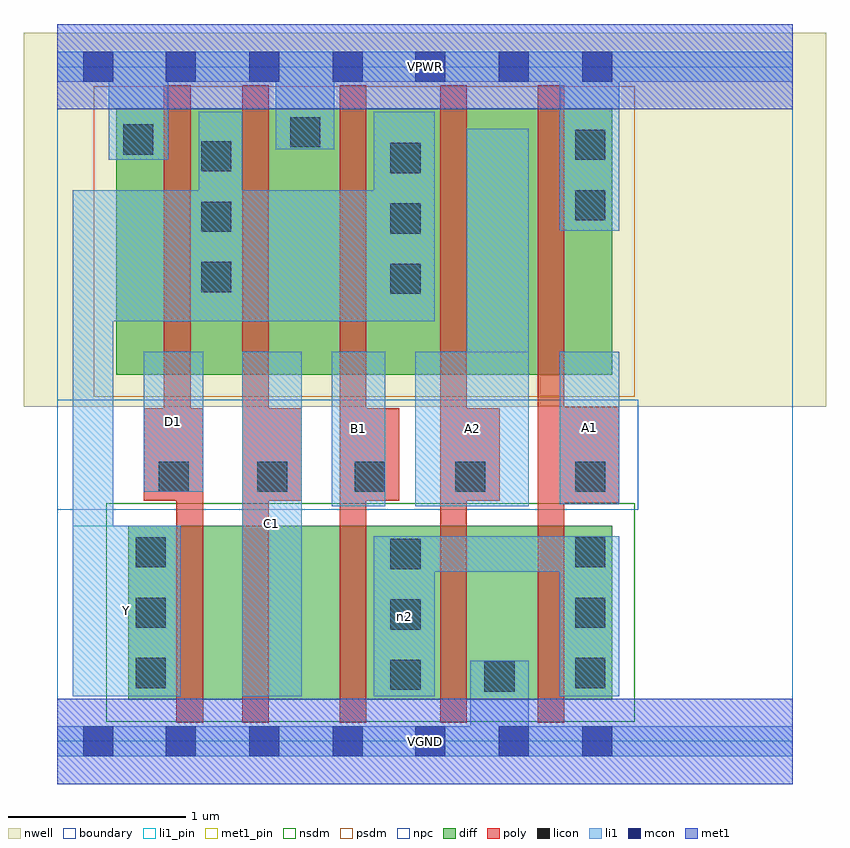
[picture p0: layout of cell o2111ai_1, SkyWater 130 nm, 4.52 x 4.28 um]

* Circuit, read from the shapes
.subckt o2111ai_1 A1 A2 B1 C1 D1 VGND VPWR Y n2
XM1 n1 D1 Y VSUBS sky130_fd_pr__nfet_01v8 w=0.98 l=0.15
XM2 n3 C1 n1 VSUBS sky130_fd_pr__nfet_01v8 w=0.98 l=0.15
XM3 n2 B1 n3 VSUBS sky130_fd_pr__nfet_01v8 w=0.98 l=0.15
XM4 VGND A2 n2 VSUBS sky130_fd_pr__nfet_01v8 w=0.98 l=0.15
XM5 n2 A1 VGND VSUBS sky130_fd_pr__nfet_01v8 w=0.98 l=0.15
XM6 Y D1 VPWR n4 sky130_fd_pr__pfet_01v8 w=1.5 l=0.15
XM7 VPWR C1 Y n4 sky130_fd_pr__pfet_01v8 w=1.5 l=0.15
XM8 Y B1 VPWR n4 sky130_fd_pr__pfet_01v8 w=1.5 l=0.15
XM9 n5 A2 Y n4 sky130_fd_pr__pfet_01v8 w=1.5 l=0.15
XM10 VPWR A1 n5 n4 sky130_fd_pr__pfet_01v8 w=1.5 l=0.15
.ends

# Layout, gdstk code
import gdstk
lib = gdstk.Library(unit=1e-6, precision=1e-09)
def R(c, l, rs):  # rectangles x0, y0, x1, y1
    for r in rs: c.add(gdstk.rectangle(r[:2], r[2:], *l))
def A(c, l, x, y, w, h, nx, ny, dx, dy):  # array of equal rectangles
    R(c, l, [(x+i*dx, y+j*dy, x+i*dx+w, y+j*dy+h) for i in range(nx) for j in range(ny)])
nwell = (64, 20)
diff = (65, 20)
poly = (66, 20)
licon = (66, 44)
li1_pin = (67, 16)
li1 = (67, 20)
mcon = (67, 44)
met1_pin = (68, 16)
met1 = (68, 20)
nsdm = (93, 44)
psdm = (94, 20)
npc = (95, 20)
boundary = (235, 4)

o2111ai_1 = lib.new_cell('o2111ai_1')
R(o2111ai_1, nwell, [(-0.19,1.885,4.33,3.99), (0,1.885,4.14,3.99)])
R(o2111ai_1, diff, [(0.4,0.235,3.125,1.215), (0.33,2.065,3.125,3.565)])
R(o2111ai_1, poly, [(0.67,0.105,0.75,3.695), (0.67,0.105,0.82,1.875), (1.04,0.105,1.19,3.695), (1.59,0.105,1.74,3.695), (2.155,0.105,2.305,3.695), (2.705,0.105,2.855,3.695), (2.705,1.345,3.165,1.885), (0.485,1.355,0.82,1.875), (0.6,1.355,0.67,3.695), (1.04,1.355,1.375,1.875), (1.59,1.355,1.925,1.875), (2.155,1.355,2.49,1.875)])
A(o2111ai_1, licon, 1.875, 0.29, 0.17, 0.17, 1, 3, 0, 0.34)
A(o2111ai_1, licon, 0.44, 0.3, 0.17, 0.17, 1, 3, 0, 0.34)
A(o2111ai_1, licon, 2.915, 0.3, 0.17, 0.17, 1, 3, 0, 0.34)
A(o2111ai_1, licon, 1.875, 2.52, 0.17, 0.17, 1, 3, 0, 0.34)
A(o2111ai_1, licon, 0.81, 2.53, 0.17, 0.17, 1, 3, 0, 0.34)
R(o2111ai_1, licon, [(2.405,0.28,2.575,0.45), (0.57,1.405,0.74,1.575), (1.125,1.405,1.295,1.575), (1.675,1.405,1.845,1.575), (2.24,1.405,2.41,1.575), (2.915,1.405,3.085,1.575), (2.915,2.935,3.085,3.105), (2.915,3.275,3.085,3.445), (0.37,3.305,0.54,3.475), (1.31,3.345,1.48,3.515)])
R(o2111ai_1, li1_pin, [(0.085,0.255,0.695,1.215), (1.04,0.255,1.375,2.195), (1.545,1.325,1.845,2.195), (2.015,1.325,2.655,2.195), (2.83,1.335,3.165,2.195), (0.485,1.405,0.82,2.195)])
R(o2111ai_1, li1, [(0,-0.085,4.14,0.085), (2.325,-0.085,2.655,0.455), (0.085,0.255,0.695,1.215), (0.085,0.255,0.315,3.105), (1.04,0.255,1.375,2.195), (1.78,0.255,2.125,1.155), (2.83,0.255,3.165,1.155), (1.78,0.955,3.165,1.155), (1.545,1.325,1.845,2.195), (2.015,1.325,2.655,2.195), (2.305,1.325,2.655,3.45), (2.83,1.335,3.165,2.195), (0.485,1.405,0.82,2.195), (0.085,2.365,2.125,3.105), (0.795,2.365,1.04,3.545), (1.78,2.365,2.125,3.545), (2.83,2.875,3.165,3.885), (0.29,3.275,0.625,3.885), (1.23,3.335,1.56,3.885), (0,3.715,4.14,3.885)])
A(o2111ai_1, mcon, 0.61, -0.085, 0.17, 0.17, 3, 2, 0.47, 3.8)
A(o2111ai_1, mcon, 2.015, -0.085, 0.17, 0.17, 3, 2, 0.47, 3.8)
R(o2111ai_1, mcon, [(0.145,-0.085,0.315,0.085), (0.145,3.715,0.315,3.885)])
R(o2111ai_1, met1_pin, [(0,-0.24,4.14,0.24), (0,3.56,4.14,4.04)])
R(o2111ai_1, met1, [(0,-0.24,4.14,0.24), (0,3.56,4.14,4.04)])
R(o2111ai_1, nsdm, [(0.275,0.11,3.25,1.34)])
R(o2111ai_1, psdm, [(0.205,1.94,3.25,3.69)])
R(o2111ai_1, npc, [(0,1.305,3.27,1.925)])
R(o2111ai_1, boundary, [(0,0,4.14,3.8)])
o2111ai_1.add(gdstk.Label('A1', (2.997,1.765), layer=67, texttype=5))
o2111ai_1.add(gdstk.Label('A2', (2.335,1.76), layer=67, texttype=5))
o2111ai_1.add(gdstk.Label('B1', (1.695,1.76), layer=67, texttype=5))
o2111ai_1.add(gdstk.Label('C1', (1.207,1.225), layer=67, texttype=5))
o2111ai_1.add(gdstk.Label('D1', (0.652,1.8), layer=67, texttype=5))
o2111ai_1.add(gdstk.Label('Y', (0.39,0.735), layer=67, texttype=5))
o2111ai_1.add(gdstk.Label('n2', (1.952,0.705), layer=67, texttype=5))
o2111ai_1.add(gdstk.Label('VPWR', (2.07,3.8), layer=68, texttype=5))
o2111ai_1.add(gdstk.Label('VGND', (2.07,0), layer=68, texttype=5))
o2111ai_1.add(gdstk.Label('A1', (2.997,1.765), layer=67, texttype=16))
o2111ai_1.add(gdstk.Label('A2', (2.335,1.76), layer=67, texttype=16))
o2111ai_1.add(gdstk.Label('B1', (1.695,1.76), layer=67, texttype=16))
o2111ai_1.add(gdstk.Label('C1', (1.207,1.225), layer=67, texttype=16))
o2111ai_1.add(gdstk.Label('D1', (0.652,1.8), layer=67, texttype=16))
o2111ai_1.add(gdstk.Label('Y', (0.39,0.735), layer=67, texttype=16))
o2111ai_1.add(gdstk.Label('VPWR', (2.07,3.8), layer=68, texttype=16))
o2111ai_1.add(gdstk.Label('VGND', (2.07,0), layer=68, texttype=16))

lib.write_gds('o2111ai_1.gds')
